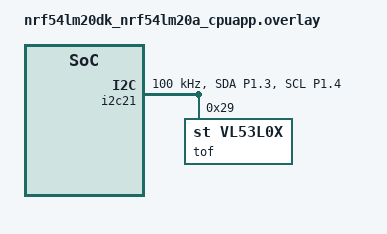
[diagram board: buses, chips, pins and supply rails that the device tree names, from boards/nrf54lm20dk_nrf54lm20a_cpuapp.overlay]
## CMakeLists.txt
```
cmake_minimum_required(VERSION 3.20.0)

find_package(Zephyr REQUIRED HINTS $ENV{ZEPHYR_BASE})
project(tof_test)

target_sources(app PRIVATE src/main.c)
```

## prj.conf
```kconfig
CONFIG_I2C=y

# Sensor subsystem + the in-tree VL53L0X driver. CONFIG_VL53L0X is already
# "default y" once the devicetree node exists (it depends on
# DT_HAS_ST_VL53L0X_ENABLED), but set it explicitly so the dependency is obvious.
CONFIG_SENSOR=y
CONFIG_VL53L0X=y

# The driver reports init/ranging failures through LOG_ERR; without logging
# enabled those are silently dropped, which is painful during bring-up.
CONFIG_LOG=y
```

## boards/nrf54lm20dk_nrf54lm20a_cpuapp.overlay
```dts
/* ToF bring-up: VL53L0X on the SAME i2c21 bus as the MPU-6050.
   The two addresses do not collide: VL53L0X = 0x29, MPU-6050 = 0x68, so both
   can share one bus. i2c21 is PERI-domain, so its pins must be on P1 or P3. */

&pinctrl {
	i2c21_default: i2c21_default {
		group1 {
			psels = <NRF_PSEL(TWIM_SDA, 1, 3)>,
				<NRF_PSEL(TWIM_SCL, 1, 4)>;
			bias-pull-up;
		};
	};

	i2c21_sleep: i2c21_sleep {
		group1 {
			psels = <NRF_PSEL(TWIM_SDA, 1, 3)>,
				<NRF_PSEL(TWIM_SCL, 1, 4)>;
			low-power-enable;
		};
	};
};

&i2c21 {
	status = "okay";
	clock-frequency = <I2C_BITRATE_STANDARD>;   /* 100 kHz, same as imu_read */
	pinctrl-0 = <&i2c21_default>;
	pinctrl-1 = <&i2c21_sleep>;
	pinctrl-names = "default", "sleep";

	/* Child node = a device ON this bus. The unit-address (@29) and the reg
	   property must both be the sensor's 7-bit I2C address. `compatible`
	   selects Zephyr's in-tree driver, and its presence is what turns
	   CONFIG_VL53L0X on. The `tof:` label is how main.c finds it via
	   DT_NODELABEL(tof). */
	tof: vl53l0x@29 {
		compatible = "st,vl53l0x";
		reg = <0x29>;

		/* Optional. Only needed if XSHUT is physically wired — it lets the
		   driver hardware-reset the sensor. Active LOW. Uncomment and set
		   the real pin if you wired it. */
		/* xshut-gpios = <&gpio1 10 GPIO_ACTIVE_LOW>; */
	};
};
```

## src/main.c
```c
#include <zephyr/kernel.h>
#include <zephyr/device.h>
#include <zephyr/drivers/sensor.h>
#include <zephyr/drivers/sensor/vl53l0x.h>   // vendor channels + RANGE_STATUS_* values
#include <stdio.h>

// Matches the `tof:` label on the vl53l0x@29 node in the board overlay.
#define TOF_NODE DT_NODELABEL(tof)

int main(void)
{
	const struct device *const tof = DEVICE_DT_GET(TOF_NODE);

	printf("\n=== tof_test: VL53L0X on %s ===\n", tof->name);

	// Driver init runs before main
	if (!device_is_ready(tof)) {
		printf("ERROR: %s not ready -- check wiring/address\n", tof->name);
		return -ENODEV;
	}

	while (1) {
		// One measurement, BLOCKS ~33ms 
		int ret = sensor_sample_fetch(tof);

		// return 0 on success 
		if (ret) {
			printf("fetch failed (%d)\n", ret);
			k_sleep(K_MSEC(100));
			continue;
		}

		struct sensor_value distance, status;

		ret = sensor_channel_get(tof, SENSOR_CHAN_DISTANCE, &distance);
		if (ret) {
			printf("distance read failed (%d)\n", ret);
			k_sleep(K_MSEC(100));
			continue;
		}

		// val1 = whole metres, val2 = millionths.
		int distance_mm = distance.val1 * 1000 + distance.val2 / 1000;

		// Range status: only status 0 (RANGE_VALID) is trustworthy. 
		int range_status = -1;
		if (sensor_channel_get(tof,
				       (enum sensor_channel)SENSOR_CHAN_VL53L0X_RANGE_STATUS,
				       &status) == 0) {
			range_status = status.val1;
		}

		printf("distance = %5d mm   status = %d %s\n",
		       distance_mm, range_status,
		       range_status == VL53L0X_RANGE_STATUS_RANGE_VALID
			       ? "(valid)" : "(INVALID - do not trust)");

		// The fetch already costs ~33ms; this just paces prints so the console
		// is readable while you hold a tape measure to it.
		k_sleep(K_MSEC(100));
	}

	return 0;
}
```
